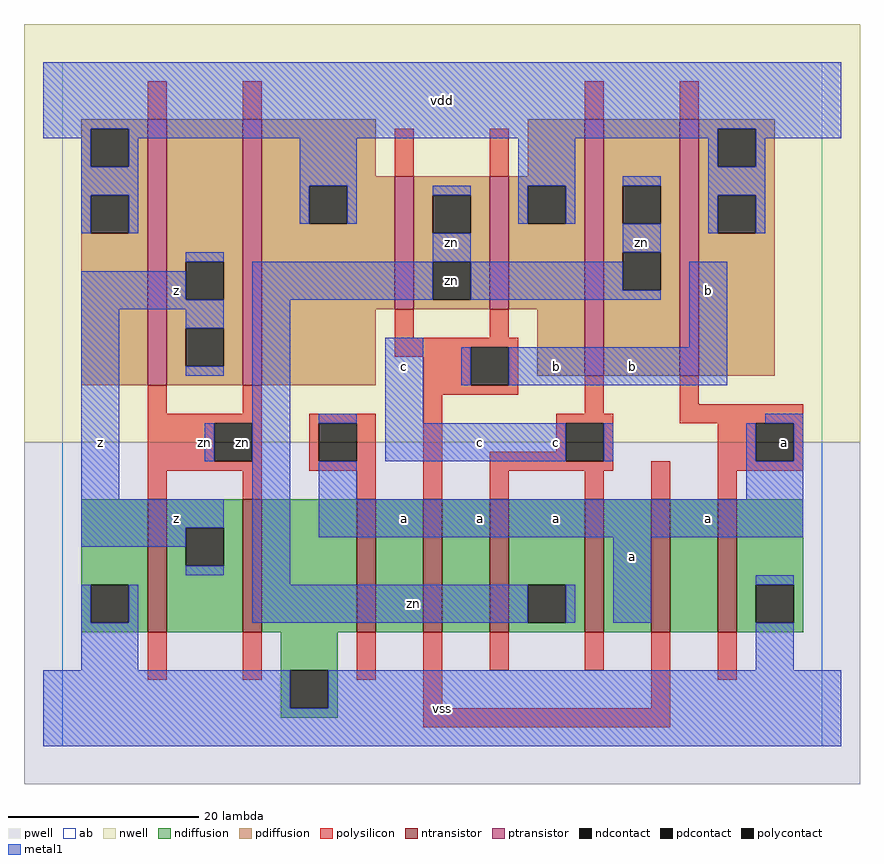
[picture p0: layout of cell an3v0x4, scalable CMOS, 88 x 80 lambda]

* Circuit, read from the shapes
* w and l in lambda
.subckt an3v0x4 a b c vdd vss z zn
M1 z zn vss VSUBS nfet w=14 l=2 m=2
M2 n1 a vss VSUBS nfet w=14 l=2
M3 n2 b n1 VSUBS nfet w=14 l=2
M4 zn c n2 VSUBS nfet w=14 l=2
M5 n3 c zn VSUBS nfet w=14 l=2
M6 n4 b n3 VSUBS nfet w=14 l=2
M7 vss a n4 VSUBS nfet w=14 l=2
M8 z zn vdd n5 pfet w=28 l=2 m=2
M9 zn b vdd n5 pfet w=14 l=2 m=2
M10 zn c vdd n5 pfet w=27 l=2
M11 vdd a zn n5 pfet w=27 l=2
.ends

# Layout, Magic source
magic
tech scmos
<< ab >>
rect 0 0 80 72
<< pwell >>
rect -4 -4 84 32
<< nwell >>
rect -4 32 84 76
<< polysilicon >>
rect 9 66 11 70
rect 19 66 21 70
rect 55 66 57 70
rect 65 66 67 70
rect 35 60 37 65
rect 45 60 47 65
rect 35 43 37 46
rect 45 43 47 46
rect 35 42 48 43
rect 35 41 43 42
rect 38 38 43 41
rect 47 38 48 42
rect 9 35 11 38
rect 19 35 21 38
rect 38 37 48 38
rect 9 34 21 35
rect 9 30 16 34
rect 20 30 21 34
rect 9 29 21 30
rect 26 34 33 35
rect 26 30 27 34
rect 31 30 33 34
rect 26 29 33 30
rect 9 26 11 29
rect 19 26 21 29
rect 31 26 33 29
rect 38 26 40 37
rect 55 35 57 39
rect 65 36 67 39
rect 52 34 58 35
rect 65 34 78 36
rect 52 31 53 34
rect 45 30 53 31
rect 57 30 58 34
rect 69 30 73 34
rect 77 30 78 34
rect 45 29 58 30
rect 45 26 47 29
rect 55 26 57 29
rect 62 26 64 30
rect 69 29 78 30
rect 69 26 71 29
rect 9 7 11 12
rect 19 7 21 12
rect 31 7 33 12
rect 38 4 40 12
rect 45 8 47 12
rect 55 8 57 12
rect 62 4 64 12
rect 69 7 71 12
rect 38 2 64 4
<< ndiffusion >>
rect 2 17 9 26
rect 2 13 3 17
rect 7 13 9 17
rect 2 12 9 13
rect 11 23 19 26
rect 11 19 13 23
rect 17 19 19 23
rect 11 12 19 19
rect 21 12 31 26
rect 33 12 38 26
rect 40 12 45 26
rect 47 17 55 26
rect 47 13 49 17
rect 53 13 55 17
rect 47 12 55 13
rect 57 12 62 26
rect 64 12 69 26
rect 71 17 78 26
rect 71 13 73 17
rect 77 13 78 17
rect 71 12 78 13
rect 23 8 29 12
rect 23 4 24 8
rect 28 4 29 8
rect 23 3 29 4
<< pdiffusion >>
rect 2 65 9 66
rect 2 61 3 65
rect 7 61 9 65
rect 2 58 9 61
rect 2 54 3 58
rect 7 54 9 58
rect 2 38 9 54
rect 11 51 19 66
rect 11 47 13 51
rect 17 47 19 51
rect 11 44 19 47
rect 11 40 13 44
rect 17 40 19 44
rect 11 38 19 40
rect 21 60 33 66
rect 49 60 55 66
rect 21 59 35 60
rect 21 55 26 59
rect 30 55 35 59
rect 21 46 35 55
rect 37 58 45 60
rect 37 54 39 58
rect 43 54 45 58
rect 37 51 45 54
rect 37 47 39 51
rect 43 47 45 51
rect 37 46 45 47
rect 47 59 55 60
rect 47 55 49 59
rect 53 55 55 59
rect 47 46 55 55
rect 21 38 33 46
rect 50 39 55 46
rect 57 59 65 66
rect 57 55 59 59
rect 63 55 65 59
rect 57 52 65 55
rect 57 48 59 52
rect 63 48 65 52
rect 57 39 65 48
rect 67 65 75 66
rect 67 61 69 65
rect 73 61 75 65
rect 67 58 75 61
rect 67 54 69 58
rect 73 54 75 58
rect 67 39 75 54
<< metal1 >>
rect -2 65 82 72
rect -2 64 3 65
rect 2 61 3 64
rect 7 64 69 65
rect 7 61 8 64
rect 2 58 8 61
rect 2 54 3 58
rect 7 54 8 58
rect 25 59 31 64
rect 48 59 54 64
rect 68 61 69 64
rect 73 64 82 65
rect 73 61 74 64
rect 25 55 26 59
rect 30 55 31 59
rect 39 58 43 59
rect 48 55 49 59
rect 53 55 54 59
rect 59 59 63 60
rect 13 51 17 52
rect 39 51 43 54
rect 59 52 63 55
rect 68 58 74 61
rect 68 54 69 58
rect 73 54 74 58
rect 2 47 13 50
rect 2 46 17 47
rect 2 26 6 46
rect 13 44 17 46
rect 13 39 17 40
rect 20 47 39 51
rect 43 48 59 51
rect 43 47 63 48
rect 15 30 16 34
rect 2 23 17 26
rect 2 21 13 23
rect 13 18 17 19
rect 20 17 24 47
rect 27 34 31 35
rect 34 34 38 43
rect 66 42 70 51
rect 42 38 43 42
rect 47 38 70 42
rect 74 34 78 35
rect 34 30 53 34
rect 57 30 58 34
rect 72 30 73 34
rect 77 30 78 34
rect 27 26 31 30
rect 72 26 78 30
rect 27 22 78 26
rect 2 13 3 17
rect 7 13 8 17
rect 20 13 49 17
rect 53 13 54 17
rect 58 13 62 22
rect 73 17 77 18
rect 2 8 8 13
rect 73 8 77 13
rect -2 4 24 8
rect 28 4 82 8
rect -2 0 82 4
<< ntransistor >>
rect 9 12 11 26
rect 19 12 21 26
rect 31 12 33 26
rect 38 12 40 26
rect 45 12 47 26
rect 55 12 57 26
rect 62 12 64 26
rect 69 12 71 26
<< ptransistor >>
rect 9 38 11 66
rect 19 38 21 66
rect 35 46 37 60
rect 45 46 47 60
rect 55 39 57 66
rect 65 39 67 66
<< polycontact >>
rect 43 38 47 42
rect 16 30 20 34
rect 27 30 31 34
rect 53 30 57 34
rect 73 30 77 34
<< ndcontact >>
rect 3 13 7 17
rect 13 19 17 23
rect 49 13 53 17
rect 73 13 77 17
rect 24 4 28 8
<< pdcontact >>
rect 3 61 7 65
rect 3 54 7 58
rect 13 47 17 51
rect 13 40 17 44
rect 26 55 30 59
rect 39 54 43 58
rect 39 47 43 51
rect 49 55 53 59
rect 59 55 63 59
rect 59 48 63 52
rect 69 61 73 65
rect 69 54 73 58
<< labels >>
rlabel polysilicon 15 32 15 32 6 zn
rlabel metal1 4 32 4 32 6 z
rlabel metal1 12 24 12 24 6 z
rlabel polycontact 19 32 19 32 6 zn
rlabel metal1 12 48 12 48 6 z
rlabel metal1 40 4 40 4 6 vss
rlabel metal1 44 24 44 24 6 a
rlabel metal1 36 24 36 24 6 a
rlabel metal1 44 32 44 32 6 c
rlabel metal1 36 40 36 40 6 c
rlabel metal1 41 53 41 53 6 zn
rlabel metal1 40 68 40 68 6 vdd
rlabel metal1 37 15 37 15 6 zn
rlabel metal1 52 24 52 24 6 a
rlabel metal1 60 20 60 20 6 a
rlabel metal1 52 32 52 32 6 c
rlabel metal1 52 40 52 40 6 b
rlabel metal1 60 40 60 40 6 b
rlabel pdcontact 41 49 41 49 6 zn
rlabel metal1 61 53 61 53 6 zn
rlabel metal1 68 24 68 24 6 a
rlabel polycontact 76 32 76 32 6 a
rlabel metal1 68 48 68 48 6 b
<< end >>
